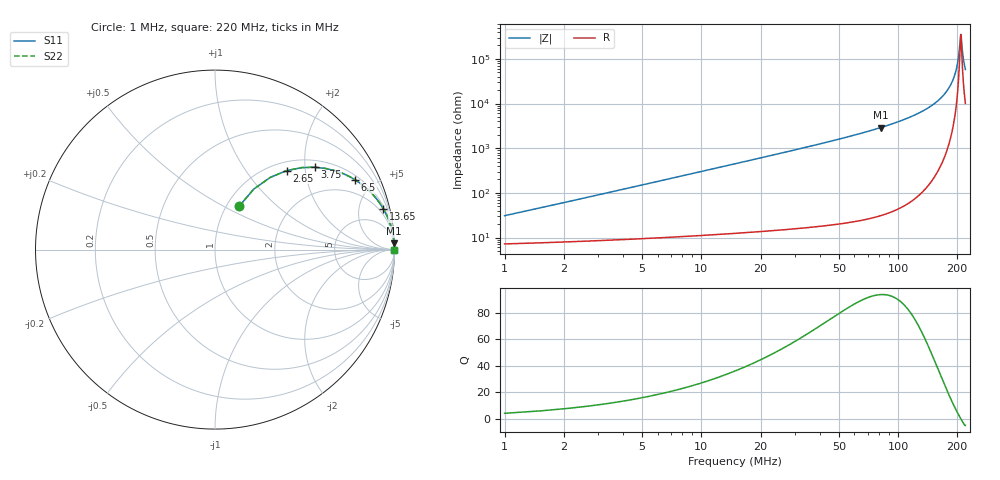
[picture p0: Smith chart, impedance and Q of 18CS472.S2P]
! Coilcraft 1812CS-472 Chip Inductor
! 31 July 2002
# MHZ S MA R 50
!Freq  MagS11  AngS11  MagS21  AngS21  MagS12  AngS12  MagS22  AngS22
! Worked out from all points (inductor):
!   400 points, 1 MHz to 220 MHz, reference 50 ohm
!   read as one part in series: L = 4.77 uH near 2.1 MHz
!   highest Q = 93.7 at 81.85 MHz (marker M1), where L = 5.64 uH
!   self-resonance near 208.3 MHz
!   S11 on the Smith chart (normalised r, x): 1 MHz: 1.14, +0.60; 2.65 MHz: 1.17, +1.59; 3.75 MHz: 1.18, +2.25; 6.5 MHz: 1.20, +3.90; 13.65 MHz: 1.24, +8.23; 220 MHz: open
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1  0.2772 60.9  0.8983 -15.6  0.8983 -15.6  0.2772 60.9
1.55  0.4019 57.3  0.8528 -23.4  0.8528 -23.4  0.4019 57.3
2.65  0.595 47.7  0.7441 -36.3  0.7441 -36.3  0.595 47.7
3.75  0.7209 39.5  0.6386 -45.9  0.6386 -45.9  0.7209 39.5
6.5  0.8723 26.5  0.4463 -60.6  0.4463 -60.6  0.8723 26.5
13.65  0.9652 13.6  0.2346 -74.8  0.2346 -74.8  0.9652 13.6
24.1  0.9882 7.7  0.1348 -81.1  0.1348 -81.1  0.9882 7.7
37.85  0.9952 4.9  0.08474 -84.3  0.08474 -84.3  0.9952 4.9
74.15  0.9988 2.2  0.03922 -87.1  0.03922 -87.1  0.9988 2.2
81.85  0.999 2.0  0.03441 -87.4  0.03441 -87.4  0.999 2.0
111  0.9995 1.2  0.02151 -88.1  0.02151 -88.1  0.9995 1.2
147.3  0.9997 0.6  0.01134 -88.2  0.01134 -88.2  0.9997 0.6
168.2  0.9997 0.4  0.006926 -87.7  0.006926 -87.7  0.9997 0.4
183.6  0.9997 0.2  0.004088 -86.3  0.004088 -86.3  0.9997 0.2
192.95  0.9997 0.1  0.002499 -83.9  0.002499 -83.9  0.9997 0.1
199.55  0.9997 0.1  0.001434 -79.1  0.001434 -79.1  0.9997 0.1
203.95  0.9997 0.0  0.000763 -68.7  0.000763 -68.7  0.9997 0.0
208.35  0.9997 0.0  0.0002847 -5.9  0.0002847 -5.9  0.9997 0.0
209.45  0.9997 -0.0  0.0003171 26.0  0.0003171 26.0  0.9997 -0.0
212.2  0.9997 -0.0  0.0006267 62.5  0.0006267 62.5  0.9997 -0.0
214.4  0.9997 -0.1  0.0009327 71.6  0.0009327 71.6  0.9997 -0.1
220  0.9997 -0.1  0.001737 79.9  0.001737 79.9  0.9997 -0.1
